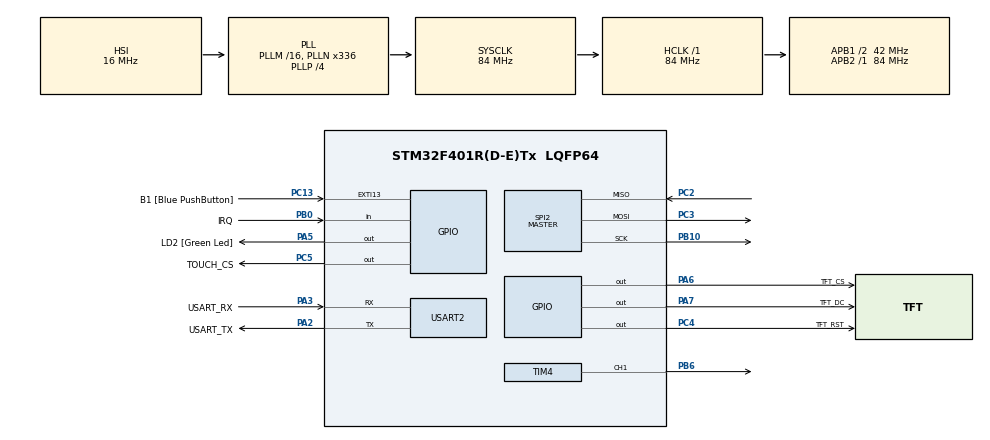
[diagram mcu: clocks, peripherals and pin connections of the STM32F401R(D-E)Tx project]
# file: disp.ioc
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Mcu.Family=STM32F4
PC3.Mode=Full_Duplex_Master
PA2.GPIO_PuPd=GPIO_NOPULL
RCC.CortexFreq_Value=84000000
SPI2.VirtualType=VM_MASTER
PB10.Mode=Full_Duplex_Master
PA14.GPIO_Label=TCK
PA3.GPIO_PuPd=GPIO_NOPULL
PA2.GPIO_Speed=GPIO_SPEED_FREQ_LOW
PA6.GPIO_Label=TFT_CS
PB0.GPIO_Label=IRQ
PA3.GPIO_Speed=GPIO_SPEED_FREQ_LOW
RCC.SYSCLKSource=RCC_SYSCLKSOURCE_PLLCLK
ProjectManager.StackSize=0x400
PH0\ -\ OSC_IN.Signal=RCC_OSC_IN
RCC.HCLKFreq_Value=84000000
RCC.APB2TimFreq_Value=84000000
TIM4.Pulse-PWM\ Generation1\ CH1=1000
PB6.Signal=S_TIM4_CH1
PC3.Signal=SPI2_MOSI
RCC.AHBFreq_Value=84000000
SPI2.BaudRatePrescaler=SPI_BAUDRATEPRESCALER_2
RCC.HSE_VALUE=8000000
PC13-ANTI_TAMP.Signal=GPXTI13
PC14-OSC32_IN.Mode=LSE-External-Oscillator
PC4.GPIO_Label=TFT_RST
PA14.Mode=Serial_Wire
PA5.GPIO_PuPd=GPIO_NOPULL
TIM4.Period=0
Mcu.Package=LQFP64
PA6.Signal=GPIO_Output
SPI2.Mode=SPI_MODE_MASTER
USART2.VirtualMode=VM_ASYNC
PA2.GPIO_Label=USART_TX
SH.S_TIM4_CH1.0=TIM4_CH1,PWM Generation1 CH1
RCC.APB1TimFreq_Value=84000000
SPI2.Direction=SPI_DIRECTION_2LINES
PC5.Signal=GPIO_Output
PA3.Signal=USART2_RX
PA2.GPIO_Mode=GPIO_MODE_AF_PP
PB3.GPIO_Label=SWO
TIM4.Channel-PWM\ Generation1\ CH1=TIM_CHANNEL_1
PC15-OSC32_OUT.Mode=LSE-External-Oscillator
PC13-ANTI_TAMP.GPIO_PuPd=GPIO_NOPULL
PC13-ANTI_TAMP.GPIO_Label=B1 [Blue PushButton]
PH1\ -\ OSC_OUT.Mode=HSE-External-Clock-Source
PC2.Signal=SPI2_MISO
PC4.Signal=GPIO_Output
PC2.Mode=Full_Duplex_Master
RCC.APB1CLKDivider=RCC_HCLK_DIV2
PC14-OSC32_IN.Signal=RCC_OSC32_IN
PA13.Signal=SYS_JTMS-SWDIO
PA3.Mode=Asynchronous
PH0\ -\ OSC_IN.Mode=HSE-External-Clock-Source
ProjectManager.TargetToolchain=STM32CubeIDE
PA3.GPIO_Mode=GPIO_MODE_AF_PP
TIM4.Prescaler=4
PC15-OSC32_OUT.Signal=RCC_OSC32_OUT
PB10.Signal=SPI2_SCK
PA5.Signal=GPIO_Output
PH1\ -\ OSC_OUT.Signal=RCC_OSC_OUT
board=NUCLEO-F401RE
RCC.VCOOutputFreq_Value=336000000
RCC.APB2Freq_Value=84000000
PA13.Mode=Serial_Wire
Mcu.Name=STM32F401R(D-E)Tx
PA13.GPIO_Label=TMS
PA2.Signal=USART2_TX
RCC.48MHZClocksFreq_Value=48000000
PB3.Signal=SYS_JTDO-SWO
RCC.SYSCLKFreq_VALUE=84000000
PA7.GPIO_Label=TFT_DC
PA5.GPIO_Label=LD2 [Green Led]
PC5.GPIO_Label=TOUCH_CS
PC13-ANTI_TAMP.GPIO_ModeDefaultEXTI=GPIO_MODE_IT_FALLING
PA14.Signal=SYS_JTCK-SWCLK
ProjectManager.HeapSize=0x200
RCC.HSI_VALUE=16000000
RCC.PLLP=RCC_PLLP_DIV4
PA5.GPIO_Speed=GPIO_SPEED_FREQ_LOW
RCC.PLLQ=7
NVIC.PriorityGroup=NVIC_PRIORITYGROUP_0
RCC.PLLN=336
PA2.Mode=Asynchronous
RCC.APB1Freq_Value=42000000
PA5.GPIO_Mode=GPIO_MODE_OUTPUT_PP
PB0.Signal=GPIO_Input
PA3.GPIO_Label=USART_RX
PA7.Signal=GPIO_Output

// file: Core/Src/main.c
/* USER CODE BEGIN Header */
/**
  ******************************************************************************
  * @file           : main.c
  * @brief          : Main program body
  ******************************************************************************
  * @attention
  *
  * <h2><center>&copy; Copyright (c) 2022 STMicroelectronics.
  * All rights reserved.</center></h2>
  *
  * This software component is licensed by ST under BSD 3-Clause license,
  * the "License"; You may not use this file except in compliance with the
  * License. You may obtain a copy of the License at:
  *                        opensource.org/licenses/BSD-3-Clause
  *
  ******************************************************************************
  */
/* USER CODE END Header */
#include "main.h"

/* USER CODE BEGIN Includes */
/* vim: set ai et ts=4 sw=4: */
#include <string.h>
#include <stdarg.h>
#include <stdbool.h>
#include "ili9341.h"
#include "ili9341_touch.h"
#include "fonts.h"
#include "testimg.h"
/* USER CODE END Includes */

SPI_HandleTypeDef hspi2;

TIM_HandleTypeDef htim4;

UART_HandleTypeDef huart2;

/* USER CODE BEGIN PV */
/* Private variables ---------------------------------------------------------*/
uint16_t  i=0;
/* USER CODE END PV */

void SystemClock_Config(void);
static void MX_GPIO_Init(void);
static void MX_USART2_UART_Init(void);
static void MX_SPI2_Init(void);
static void MX_TIM4_Init(void);
/* USER CODE BEGIN PFP */
/* Private function prototypes -----------------------------------------------*/

/* USER CODE END PFP */

/* USER CODE BEGIN 0 */

void UART_Printf(const char* fmt, ...) {
    char buff[256];
    va_list args;
    va_start(args, fmt);
    vsnprintf(buff, sizeof(buff), fmt, args);
    HAL_UART_Transmit(&huart2, (uint8_t*)buff, strlen(buff),
                      HAL_MAX_DELAY);
    va_end(args);
}

void DrawPiano()
{
	if(HAL_SPI_DeInit(&hspi2) != HAL_OK) {
	        UART_Printf("HAL_SPI_DeInit failed!\r\n");
	        return;
	    }

	    hspi2.Init.BaudRatePrescaler = SPI_BAUDRATEPRESCALER_2;

	    if(HAL_SPI_Init(&hspi2) != HAL_OK) {
	        UART_Printf("HAL_SPI_Init failed!\r\n");
	        return;
	    }
//рисуем пианино
	    ILI9341_FillRectangle(0, 0, 240, 45,ILI9341_WHITE );
	    ILI9341_FillRectangle(0, 46, 240, 45,ILI9341_WHITE );
	    ILI9341_FillRectangle(0, 92, 240, 45,ILI9341_WHITE );
	    ILI9341_FillRectangle(0, 138, 240, 45,ILI9341_WHITE );
	    ILI9341_FillRectangle(0, 184, 240, 45,ILI9341_WHITE );
	    ILI9341_FillRectangle(0, 230, 240, 45,ILI9341_WHITE );
	    ILI9341_FillRectangle(0, 276, 240, 45,ILI9341_WHITE );
	    ILI9341_FillRectangle(0, 322, 240, 45,ILI9341_WHITE );
	    ILI9341_FillRectangle(120, 33, 120, 30,ILI9341_BLACK );
	    ILI9341_FillRectangle(120, 78, 120, 30,ILI9341_BLACK );
	    ILI9341_FillRectangle(120, 168, 120, 30,ILI9341_BLACK );
	    ILI9341_FillRectangle(120, 213, 120, 30,ILI9341_BLACK );
	    ILI9341_FillRectangle(120, 258, 120, 30,ILI9341_BLACK );

	    if(HAL_SPI_DeInit(&hspi2) != HAL_OK) {
	        UART_Printf("HAL_SPI_DeInit failed!\r\n");
	        return;
	    }

	    hspi2.Init.BaudRatePrescaler = SPI_BAUDRATEPRESCALER_128;

	    if(HAL_SPI_Init(&hspi2) != HAL_OK) {
	        UART_Printf("HAL_SPI_Init failed!\r\n");
	        return;
	    }
}

void init() {
    ILI9341_Unselect();
    ILI9341_TouchUnselect();
    ILI9341_Init();
    DrawPiano();
}

bool TouchGetCoordinates(uint16_t* x_addr, uint16_t* y_addr)
{
	uint16_t tx;
	uint16_t ty;
	tx = *x_addr;
	ty = *y_addr;

	if (ILI9341_TouchGetCoordinates(x_addr, y_addr) && *y_addr < 310)
	{
		return true;
	}
	else
	{
		*x_addr = tx;
		*y_addr = ty;
		return false;
	}
	return false;
}

bool  prevTouch;

void playIfWhite()
{
	uint16_t x, y;
	TouchGetCoordinates(&x, &y);
	if (x>00 && x<120)
	{

		if (y >= 0 && y<45)
			//тон генерации
									{
										TIM4->ARR = 8030;
										TIM4->CCR1 = 4000;
									}
									if( y>=45 && y<91 )
									{
										TIM4->ARR =7155;
										TIM4->CCR1 = 3600;
									}
									if( y>=91 && y<138 )
									{
										TIM4->ARR = 6373;
										TIM4->CCR1 = 3180;
									}
									if( y>=138 && y<184 )
									{
										TIM4->ARR =6000;
										TIM4->CCR1 = 3000;
									}
									if( y>=184 && y<230 )
									{
										TIM4->ARR =5357;
										TIM4->CCR1 = 2678;
									}
									if( y>=230 && y<276 )
									{
										TIM4->ARR =4883;
										TIM4->CCR1 = 2441;
									}
									if( y>=276 && y<322 )
									{
										TIM4->ARR =4253;
										TIM4->CCR1 = 2100;
									}
									return 0;
	}
}

void playIfBlack()
{
	uint16_t x, y;
		ILI9341_TouchGetCoordinates(&x, &y);
	if (x>120 && x<240)
					{

							if (y >= 33 && y<63)
							{
								TIM4->ARR = 7581;
								TIM4->CCR1 = 3800;
							}
							if( y>=78 && y<108 )
							{
								TIM4->ARR =6752;
								TIM4->CCR1 = 3376;
							}
							if( y>=168 && y<198 )
							{
								TIM4->ARR = 5675;
								TIM4->CCR1 = 2837;
							}
							if( y>213 && y<243 )
							{
								TIM4->ARR =5057;
								TIM4->CCR1 = 2528;
							}
							if( y>258 && y<288 )
							{
								TIM4->ARR =4506;
								TIM4->CCR1 = 2253;
							}
							return 0;
					}
}

void loop() {

        uint16_t x, y;

        if (ILI9341_TouchGetCoordinates(&x, &y))
        {
        	if (!prevTouch)
        	{
        		ILI9341_DrawPixel(x, y, ILI9341_RED );

        		playIfWhite();
        		playIfBlack();
        		prevTouch = true;
        	}

        }
        else
        {
        	if (prevTouch)
        	{

        		 TIM4->CCR1=0;

        	}
        	prevTouch = false;
        }

}

/* USER CODE END 0 */

int main(void)
{

  /* MCU Configuration--------------------------------------------------------*/

  /* Reset of all peripherals, Initializes the Flash interface and the Systick. */
  HAL_Init();

  /* Configure the system clock */
  SystemClock_Config();

  /* Initialize all configured peripherals */
  MX_GPIO_Init();
  MX_USART2_UART_Init();
  MX_SPI2_Init();
  MX_TIM4_Init();
  /* USER CODE BEGIN 2 */
HAL_TIM_PWM_Start(&htim4, TIM_CHANNEL_1);
  /* USER CODE END 2 */

  /* Infinite loop */
  /* USER CODE BEGIN WHILE */
  init();
  while (1)
  {
    loop();
    /* USER CODE END WHILE */

  }
}

void SystemClock_Config(void)
{
  RCC_OscInitTypeDef RCC_OscInitStruct = {0};
  RCC_ClkInitTypeDef RCC_ClkInitStruct = {0};

  /** Configure the main internal regulator output voltage
  */
  __HAL_RCC_PWR_CLK_ENABLE();
  __HAL_PWR_VOLTAGESCALING_CONFIG(PWR_REGULATOR_VOLTAGE_SCALE2);
  /** Initializes the RCC Oscillators according to the specified parameters
  * in the RCC_OscInitTypeDef structure.
  */
  RCC_OscInitStruct.OscillatorType = RCC_OSCILLATORTYPE_HSI;
  RCC_OscInitStruct.HSIState = RCC_HSI_ON;
  RCC_OscInitStruct.HSICalibrationValue = RCC_HSICALIBRATION_DEFAULT;
  RCC_OscInitStruct.PLL.PLLState = RCC_PLL_ON;
  RCC_OscInitStruct.PLL.PLLSource = RCC_PLLSOURCE_HSI;
  RCC_OscInitStruct.PLL.PLLM = 16;
  RCC_OscInitStruct.PLL.PLLN = 336;
  RCC_OscInitStruct.PLL.PLLP = RCC_PLLP_DIV4;
  RCC_OscInitStruct.PLL.PLLQ = 7;
  if (HAL_RCC_OscConfig(&RCC_OscInitStruct) != HAL_OK)
  {
    Error_Handler();
  }
  /** Initializes the CPU, AHB and APB buses clocks
  */
  RCC_ClkInitStruct.ClockType = RCC_CLOCKTYPE_HCLK|RCC_CLOCKTYPE_SYSCLK
                              |RCC_CLOCKTYPE_PCLK1|RCC_CLOCKTYPE_PCLK2;
  RCC_ClkInitStruct.SYSCLKSource = RCC_SYSCLKSOURCE_PLLCLK;
  RCC_ClkInitStruct.AHBCLKDivider = RCC_SYSCLK_DIV1;
  RCC_ClkInitStruct.APB1CLKDivider = RCC_HCLK_DIV2;
  RCC_ClkInitStruct.APB2CLKDivider = RCC_HCLK_DIV1;

  if (HAL_RCC_ClockConfig(&RCC_ClkInitStruct, FLASH_LATENCY_2) != HAL_OK)
  {
    Error_Handler();
  }
}

static void MX_SPI2_Init(void)
{

  /* SPI2 parameter configuration*/
  hspi2.Instance = SPI2;
  hspi2.Init.Mode = SPI_MODE_MASTER;
  hspi2.Init.Direction = SPI_DIRECTION_2LINES;
  hspi2.Init.DataSize = SPI_DATASIZE_8BIT;
  hspi2.Init.CLKPolarity = SPI_POLARITY_LOW;
  hspi2.Init.CLKPhase = SPI_PHASE_1EDGE;
  hspi2.Init.NSS = SPI_NSS_SOFT;
  hspi2.Init.BaudRatePrescaler = SPI_BAUDRATEPRESCALER_2;
  hspi2.Init.FirstBit = SPI_FIRSTBIT_MSB;
  hspi2.Init.TIMode = SPI_TIMODE_DISABLE;
  hspi2.Init.CRCCalculation = SPI_CRCCALCULATION_DISABLE;
  hspi2.Init.CRCPolynomial = 10;
  if (HAL_SPI_Init(&hspi2) != HAL_OK)
  {
    Error_Handler();
  }

}

static void MX_TIM4_Init(void)
{

  TIM_MasterConfigTypeDef sMasterConfig = {0};
  TIM_OC_InitTypeDef sConfigOC = {0};

  htim4.Instance = TIM4;
  htim4.Init.Prescaler = 4;
  htim4.Init.CounterMode = TIM_COUNTERMODE_UP;
  htim4.Init.Period = 0;
  htim4.Init.ClockDivision = TIM_CLOCKDIVISION_DIV1;
  htim4.Init.AutoReloadPreload = TIM_AUTORELOAD_PRELOAD_DISABLE;
  if (HAL_TIM_PWM_Init(&htim4) != HAL_OK)
  {
    Error_Handler();
  }
  sMasterConfig.MasterOutputTrigger = TIM_TRGO_RESET;
  sMasterConfig.MasterSlaveMode = TIM_MASTERSLAVEMODE_DISABLE;
  if (HAL_TIMEx_MasterConfigSynchronization(&htim4, &sMasterConfig) != HAL_OK)
  {
    Error_Handler();
  }
  sConfigOC.OCMode = TIM_OCMODE_PWM1;
  sConfigOC.Pulse = 1000;
  sConfigOC.OCPolarity = TIM_OCPOLARITY_HIGH;
  sConfigOC.OCFastMode = TIM_OCFAST_DISABLE;
  if (HAL_TIM_PWM_ConfigChannel(&htim4, &sConfigOC, TIM_CHANNEL_1) != HAL_OK)
  {
    Error_Handler();
  }
  HAL_TIM_MspPostInit(&htim4);

}

static void MX_USART2_UART_Init(void)
{

  huart2.Instance = USART2;
  huart2.Init.BaudRate = 115200;
  huart2.Init.WordLength = UART_WORDLENGTH_8B;
  huart2.Init.StopBits = UART_STOPBITS_1;
  huart2.Init.Parity = UART_PARITY_NONE;
  huart2.Init.Mode = UART_MODE_TX_RX;
  huart2.Init.HwFlowCtl = UART_HWCONTROL_NONE;
  huart2.Init.OverSampling = UART_OVERSAMPLING_16;
  if (HAL_UART_Init(&huart2) != HAL_OK)
  {
    Error_Handler();
  }

}

static void MX_GPIO_Init(void)
{
  GPIO_InitTypeDef GPIO_InitStruct = {0};

  /* GPIO Ports Clock Enable */
  __HAL_RCC_GPIOC_CLK_ENABLE();
  __HAL_RCC_GPIOH_CLK_ENABLE();
  __HAL_RCC_GPIOA_CLK_ENABLE();
  __HAL_RCC_GPIOB_CLK_ENABLE();

  /*Configure GPIO pin Output Level */
  HAL_GPIO_WritePin(GPIOA, LD2_Pin|TFT_CS_Pin|TFT_DC_Pin, GPIO_PIN_RESET);

  /*Configure GPIO pin Output Level */
  HAL_GPIO_WritePin(GPIOC, TFT_RST_Pin|TOUCH_CS_Pin, GPIO_PIN_RESET);

  /*Configure GPIO pin : B1_Pin */
  GPIO_InitStruct.Pin = B1_Pin;
  GPIO_InitStruct.Mode = GPIO_MODE_IT_FALLING;
  GPIO_InitStruct.Pull = GPIO_NOPULL;
  HAL_GPIO_Init(B1_GPIO_Port, &GPIO_InitStruct);

  /*Configure GPIO pins : LD2_Pin TFT_CS_Pin TFT_DC_Pin */
  GPIO_InitStruct.Pin = LD2_Pin|TFT_CS_Pin|TFT_DC_Pin;
  GPIO_InitStruct.Mode = GPIO_MODE_OUTPUT_PP;
  GPIO_InitStruct.Pull = GPIO_NOPULL;
  GPIO_InitStruct.Speed = GPIO_SPEED_FREQ_LOW;
  HAL_GPIO_Init(GPIOA, &GPIO_InitStruct);

  /*Configure GPIO pins : TFT_RST_Pin TOUCH_CS_Pin */
  GPIO_InitStruct.Pin = TFT_RST_Pin|TOUCH_CS_Pin;
  GPIO_InitStruct.Mode = GPIO_MODE_OUTPUT_PP;
  GPIO_InitStruct.Pull = GPIO_NOPULL;
  GPIO_InitStruct.Speed = GPIO_SPEED_FREQ_LOW;
  HAL_GPIO_Init(GPIOC, &GPIO_InitStruct);

  /*Configure GPIO pin : IRQ_Pin */
  GPIO_InitStruct.Pin = IRQ_Pin;
  GPIO_InitStruct.Mode = GPIO_MODE_INPUT;
  GPIO_InitStruct.Pull = GPIO_NOPULL;
  HAL_GPIO_Init(IRQ_GPIO_Port, &GPIO_InitStruct);

}

void Error_Handler(void)
{
  while(1)
  {
  }
}

/************************ (C) COPYRIGHT STMicroelectronics *****END OF FILE****/
